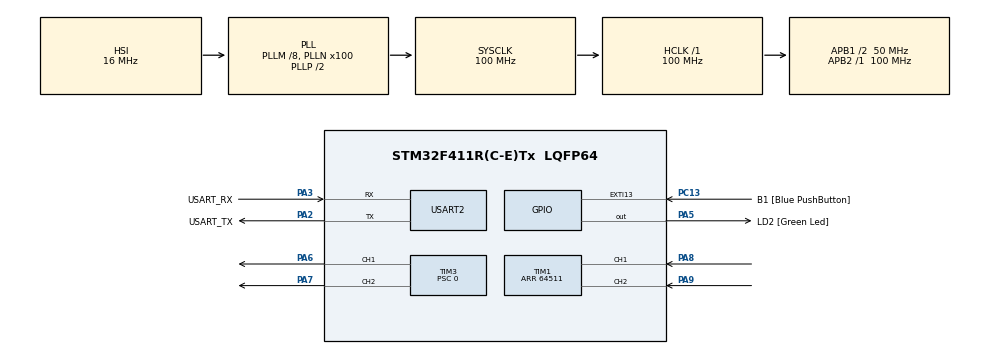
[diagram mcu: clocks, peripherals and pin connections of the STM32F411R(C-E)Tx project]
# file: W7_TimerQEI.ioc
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Mcu.Family=STM32F4
Mcu.Name=STM32F411R(C-E)Tx
Mcu.Package=LQFP64
NVIC.PriorityGroup=NVIC_PRIORITYGROUP_0
NVIC.TIM2_IRQn=true\:0\:0\:false\:false\:true\:true\:true
PA13.GPIO_Label=TMS
PA13.Mode=Serial_Wire
PA13.Signal=SYS_JTMS-SWDIO
PA14.GPIO_Label=TCK
PA14.Mode=Serial_Wire
PA14.Signal=SYS_JTCK-SWCLK
PA2.GPIO_Label=USART_TX
PA2.Mode=Asynchronous
PA2.Signal=USART2_TX
PA3.GPIO_Label=USART_RX
PA3.Mode=Asynchronous
PA3.Signal=USART2_RX
PA5.GPIO_Label=LD2 [Green Led]
PA5.Signal=GPIO_Output
PA6.Signal=S_TIM3_CH1
PA7.Signal=S_TIM3_CH2
PA8.Signal=S_TIM1_CH1
PA9.Signal=S_TIM1_CH2
PB3.GPIO_Label=SWO
PB3.Signal=SYS_JTDO-SWO
PC13-ANTI_TAMP.GPIO_Label=B1 [Blue PushButton]
PC13-ANTI_TAMP.GPIO_ModeDefaultEXTI=GPIO_MODE_IT_FALLING
PC13-ANTI_TAMP.Signal=GPXTI13
PC14-OSC32_IN.Mode=LSE-External-Oscillator
PC14-OSC32_IN.Signal=RCC_OSC32_IN
PC15-OSC32_OUT.Mode=LSE-External-Oscillator
PC15-OSC32_OUT.Signal=RCC_OSC32_OUT
PH0\ -\ OSC_IN.Mode=HSE-External-Clock-Source
PH0\ -\ OSC_IN.Signal=RCC_OSC_IN
PH1\ -\ OSC_OUT.Mode=HSE-External-Clock-Source
PH1\ -\ OSC_OUT.Signal=RCC_OSC_OUT
ProjectManager.HeapSize=0x200
ProjectManager.StackSize=0x400
ProjectManager.TargetToolchain=STM32CubeIDE
RCC.48MHZClocksFreq_Value=50000000
RCC.AHBFreq_Value=100000000
RCC.APB1CLKDivider=RCC_HCLK_DIV2
RCC.APB1Freq_Value=50000000
RCC.APB1TimFreq_Value=100000000
RCC.APB2Freq_Value=100000000
RCC.APB2TimFreq_Value=100000000
RCC.CortexFreq_Value=100000000
RCC.FLatency-AdvancedSettings=FLASH_LATENCY_3
RCC.HCLKFreq_Value=100000000
RCC.HSE_VALUE=8000000
RCC.HSI_VALUE=16000000
RCC.PLLM=8
RCC.PLLN=100
RCC.SYSCLKFreq_VALUE=100000000
RCC.SYSCLKSource=RCC_SYSCLKSOURCE_PLLCLK
RCC.VCOOutputFreq_Value=200000000
SH.S_TIM1_CH1.0=TIM1_CH1,Encoder_Interface
SH.S_TIM1_CH2.0=TIM1_CH2,Encoder_Interface
SH.S_TIM3_CH1.0=TIM3_CH1,PWM Generation1 CH1
SH.S_TIM3_CH2.0=TIM3_CH2,PWM Generation2 CH2
TIM1.EncoderMode=TIM_ENCODERMODE_TI12
TIM1.Period=64511
TIM2.Prescaler=99
TIM3.AutoReloadPreload=TIM_AUTORELOAD_PRELOAD_ENABLE
TIM3.Channel-PWM\ Generation1\ CH1=TIM_CHANNEL_1
TIM3.Channel-PWM\ Generation2\ CH2=TIM_CHANNEL_2
TIM3.Period=9999
TIM3.Prescaler=0
USART2.VirtualMode=VM_ASYNC
VP_TIM2_VS_ClockSourceINT.Mode=Internal
VP_TIM3_VS_ClockSourceINT.Mode=Internal
board=NUCLEO-F411RE

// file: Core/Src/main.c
/* USER CODE BEGIN Header */
/**
 ******************************************************************************
 * @file           : main.c
 * @brief          : Main program body
 ******************************************************************************
 * @attention
 *
 * <h2><center>&copy; Copyright (c) 2021 STMicroelectronics.
 * All rights reserved.</center></h2>
 *
 * This software component is licensed by ST under BSD 3-Clause license,
 * the "License"; You may not use this file except in compliance with the
 * License. You may obtain a copy of the License at:
 *                        opensource.org/licenses/BSD-3-Clause
 *
 ******************************************************************************
 */
/* USER CODE END Header */
#include "main.h"

/* USER CODE BEGIN Includes */
#define _USE_MATH_DEFINES
#include "math.h"
/* USER CODE END Includes */

/* USER CODE BEGIN PD */
#define PulsePerRev 3072 //12[encoder fin] * 64[gearbox] * 4[QEI]

/* USER CODE END PD */

TIM_HandleTypeDef htim1;
TIM_HandleTypeDef htim2;
TIM_HandleTypeDef htim3;

UART_HandleTypeDef huart2;

/* USER CODE BEGIN PV */
uint64_t _micros = 0;
float DegRel =0;
float DegAbs =0;
float RadRel =0;
float RadAbs =0;
uint16_t PWMROut = 0;
uint16_t PWMLOut = 0;
float AnsDegAbs = 0;

/* USER CODE END PV */

void SystemClock_Config(void);
static void MX_GPIO_Init(void);
static void MX_USART2_UART_Init(void);
static void MX_TIM1_Init(void);
static void MX_TIM2_Init(void);
static void MX_TIM3_Init(void);
/* USER CODE BEGIN PFP */
uint64_t micros();
void UpdatePosition();
/* USER CODE END PFP */

int main(void)
{

  /* MCU Configuration--------------------------------------------------------*/

  /* Reset of all peripherals, Initializes the Flash interface and the Systick. */
  HAL_Init();

  /* Configure the system clock */
  SystemClock_Config();

  /* Initialize all configured peripherals */
  MX_GPIO_Init();
  MX_USART2_UART_Init();
  MX_TIM1_Init();
  MX_TIM2_Init();
  MX_TIM3_Init();
  /* USER CODE BEGIN 2 */
	HAL_TIM_Base_Start_IT(&htim2);
	HAL_TIM_Encoder_Start(&htim1, TIM_CHANNEL_ALL);
	HAL_TIM_Base_Start(&htim3);
	HAL_TIM_PWM_Start(&htim3, TIM_CHANNEL_1);
	HAL_TIM_PWM_Start(&htim3, TIM_CHANNEL_2);
  /* USER CODE END 2 */

  /* Infinite loop */
	while (1)
	{

    /* USER CODE BEGIN 3 */
		UpdatePosition();

		if(AnsDegAbs >= DegAbs){
			PWMROut = 2000;
			PWMLOut = 0;

		}
		else if(AnsDegAbs <= DegAbs){
			PWMROut = 0;
			PWMLOut = 2000;

		}
//		if(DegAbs >= AnsDegAbs){
//			PWMROut = 0;
//			PWMLOut = 0;
//		}
		__HAL_TIM_SET_COMPARE(&htim3, TIM_CHANNEL_1, PWMROut);
		__HAL_TIM_SET_COMPARE(&htim3, TIM_CHANNEL_2, PWMLOut);

	}
  /* USER CODE END 3 */
}

void SystemClock_Config(void)
{
  RCC_OscInitTypeDef RCC_OscInitStruct = {0};
  RCC_ClkInitTypeDef RCC_ClkInitStruct = {0};

  /** Configure the main internal regulator output voltage
  */
  __HAL_RCC_PWR_CLK_ENABLE();
  __HAL_PWR_VOLTAGESCALING_CONFIG(PWR_REGULATOR_VOLTAGE_SCALE1);
  /** Initializes the RCC Oscillators according to the specified parameters
  * in the RCC_OscInitTypeDef structure.
  */
  RCC_OscInitStruct.OscillatorType = RCC_OSCILLATORTYPE_HSI;
  RCC_OscInitStruct.HSIState = RCC_HSI_ON;
  RCC_OscInitStruct.HSICalibrationValue = RCC_HSICALIBRATION_DEFAULT;
  RCC_OscInitStruct.PLL.PLLState = RCC_PLL_ON;
  RCC_OscInitStruct.PLL.PLLSource = RCC_PLLSOURCE_HSI;
  RCC_OscInitStruct.PLL.PLLM = 8;
  RCC_OscInitStruct.PLL.PLLN = 100;
  RCC_OscInitStruct.PLL.PLLP = RCC_PLLP_DIV2;
  RCC_OscInitStruct.PLL.PLLQ = 4;
  if (HAL_RCC_OscConfig(&RCC_OscInitStruct) != HAL_OK)
  {
    Error_Handler();
  }
  /** Initializes the CPU, AHB and APB buses clocks
  */
  RCC_ClkInitStruct.ClockType = RCC_CLOCKTYPE_HCLK|RCC_CLOCKTYPE_SYSCLK
                              |RCC_CLOCKTYPE_PCLK1|RCC_CLOCKTYPE_PCLK2;
  RCC_ClkInitStruct.SYSCLKSource = RCC_SYSCLKSOURCE_PLLCLK;
  RCC_ClkInitStruct.AHBCLKDivider = RCC_SYSCLK_DIV1;
  RCC_ClkInitStruct.APB1CLKDivider = RCC_HCLK_DIV2;
  RCC_ClkInitStruct.APB2CLKDivider = RCC_HCLK_DIV1;

  if (HAL_RCC_ClockConfig(&RCC_ClkInitStruct, FLASH_LATENCY_3) != HAL_OK)
  {
    Error_Handler();
  }
}

static void MX_TIM1_Init(void)
{

  TIM_Encoder_InitTypeDef sConfig = {0};
  TIM_MasterConfigTypeDef sMasterConfig = {0};

  htim1.Instance = TIM1;
  htim1.Init.Prescaler = 0;
  htim1.Init.CounterMode = TIM_COUNTERMODE_UP;
  htim1.Init.Period = 64511;
  htim1.Init.ClockDivision = TIM_CLOCKDIVISION_DIV1;
  htim1.Init.RepetitionCounter = 0;
  htim1.Init.AutoReloadPreload = TIM_AUTORELOAD_PRELOAD_DISABLE;
  sConfig.EncoderMode = TIM_ENCODERMODE_TI12;
  sConfig.IC1Polarity = TIM_ICPOLARITY_RISING;
  sConfig.IC1Selection = TIM_ICSELECTION_DIRECTTI;
  sConfig.IC1Prescaler = TIM_ICPSC_DIV1;
  sConfig.IC1Filter = 0;
  sConfig.IC2Polarity = TIM_ICPOLARITY_RISING;
  sConfig.IC2Selection = TIM_ICSELECTION_DIRECTTI;
  sConfig.IC2Prescaler = TIM_ICPSC_DIV1;
  sConfig.IC2Filter = 0;
  if (HAL_TIM_Encoder_Init(&htim1, &sConfig) != HAL_OK)
  {
    Error_Handler();
  }
  sMasterConfig.MasterOutputTrigger = TIM_TRGO_RESET;
  sMasterConfig.MasterSlaveMode = TIM_MASTERSLAVEMODE_DISABLE;
  if (HAL_TIMEx_MasterConfigSynchronization(&htim1, &sMasterConfig) != HAL_OK)
  {
    Error_Handler();
  }

}

static void MX_TIM2_Init(void)
{

  TIM_ClockConfigTypeDef sClockSourceConfig = {0};
  TIM_MasterConfigTypeDef sMasterConfig = {0};

  htim2.Instance = TIM2;
  htim2.Init.Prescaler = 99;
  htim2.Init.CounterMode = TIM_COUNTERMODE_UP;
  htim2.Init.Period = 4294967295;
  htim2.Init.ClockDivision = TIM_CLOCKDIVISION_DIV1;
  htim2.Init.AutoReloadPreload = TIM_AUTORELOAD_PRELOAD_DISABLE;
  if (HAL_TIM_Base_Init(&htim2) != HAL_OK)
  {
    Error_Handler();
  }
  sClockSourceConfig.ClockSource = TIM_CLOCKSOURCE_INTERNAL;
  if (HAL_TIM_ConfigClockSource(&htim2, &sClockSourceConfig) != HAL_OK)
  {
    Error_Handler();
  }
  sMasterConfig.MasterOutputTrigger = TIM_TRGO_RESET;
  sMasterConfig.MasterSlaveMode = TIM_MASTERSLAVEMODE_DISABLE;
  if (HAL_TIMEx_MasterConfigSynchronization(&htim2, &sMasterConfig) != HAL_OK)
  {
    Error_Handler();
  }

}

static void MX_TIM3_Init(void)
{

  TIM_ClockConfigTypeDef sClockSourceConfig = {0};
  TIM_MasterConfigTypeDef sMasterConfig = {0};
  TIM_OC_InitTypeDef sConfigOC = {0};

  htim3.Instance = TIM3;
  htim3.Init.Prescaler = 0;
  htim3.Init.CounterMode = TIM_COUNTERMODE_UP;
  htim3.Init.Period = 9999;
  htim3.Init.ClockDivision = TIM_CLOCKDIVISION_DIV1;
  htim3.Init.AutoReloadPreload = TIM_AUTORELOAD_PRELOAD_ENABLE;
  if (HAL_TIM_Base_Init(&htim3) != HAL_OK)
  {
    Error_Handler();
  }
  sClockSourceConfig.ClockSource = TIM_CLOCKSOURCE_INTERNAL;
  if (HAL_TIM_ConfigClockSource(&htim3, &sClockSourceConfig) != HAL_OK)
  {
    Error_Handler();
  }
  if (HAL_TIM_PWM_Init(&htim3) != HAL_OK)
  {
    Error_Handler();
  }
  sMasterConfig.MasterOutputTrigger = TIM_TRGO_RESET;
  sMasterConfig.MasterSlaveMode = TIM_MASTERSLAVEMODE_DISABLE;
  if (HAL_TIMEx_MasterConfigSynchronization(&htim3, &sMasterConfig) != HAL_OK)
  {
    Error_Handler();
  }
  sConfigOC.OCMode = TIM_OCMODE_PWM1;
  sConfigOC.Pulse = 0;
  sConfigOC.OCPolarity = TIM_OCPOLARITY_HIGH;
  sConfigOC.OCFastMode = TIM_OCFAST_DISABLE;
  if (HAL_TIM_PWM_ConfigChannel(&htim3, &sConfigOC, TIM_CHANNEL_1) != HAL_OK)
  {
    Error_Handler();
  }
  if (HAL_TIM_PWM_ConfigChannel(&htim3, &sConfigOC, TIM_CHANNEL_2) != HAL_OK)
  {
    Error_Handler();
  }
  HAL_TIM_MspPostInit(&htim3);

}

static void MX_USART2_UART_Init(void)
{

  huart2.Instance = USART2;
  huart2.Init.BaudRate = 115200;
  huart2.Init.WordLength = UART_WORDLENGTH_8B;
  huart2.Init.StopBits = UART_STOPBITS_1;
  huart2.Init.Parity = UART_PARITY_NONE;
  huart2.Init.Mode = UART_MODE_TX_RX;
  huart2.Init.HwFlowCtl = UART_HWCONTROL_NONE;
  huart2.Init.OverSampling = UART_OVERSAMPLING_16;
  if (HAL_UART_Init(&huart2) != HAL_OK)
  {
    Error_Handler();
  }

}

static void MX_GPIO_Init(void)
{
  GPIO_InitTypeDef GPIO_InitStruct = {0};

  /* GPIO Ports Clock Enable */
  __HAL_RCC_GPIOC_CLK_ENABLE();
  __HAL_RCC_GPIOH_CLK_ENABLE();
  __HAL_RCC_GPIOA_CLK_ENABLE();
  __HAL_RCC_GPIOB_CLK_ENABLE();

  /*Configure GPIO pin Output Level */
  HAL_GPIO_WritePin(LD2_GPIO_Port, LD2_Pin, GPIO_PIN_RESET);

  /*Configure GPIO pin : B1_Pin */
  GPIO_InitStruct.Pin = B1_Pin;
  GPIO_InitStruct.Mode = GPIO_MODE_IT_FALLING;
  GPIO_InitStruct.Pull = GPIO_NOPULL;
  HAL_GPIO_Init(B1_GPIO_Port, &GPIO_InitStruct);

  /*Configure GPIO pin : LD2_Pin */
  GPIO_InitStruct.Pin = LD2_Pin;
  GPIO_InitStruct.Mode = GPIO_MODE_OUTPUT_PP;
  GPIO_InitStruct.Pull = GPIO_NOPULL;
  GPIO_InitStruct.Speed = GPIO_SPEED_FREQ_LOW;
  HAL_GPIO_Init(LD2_GPIO_Port, &GPIO_InitStruct);

}

/* USER CODE BEGIN 4 */
void UpdatePosition()
{
	static uint64_t TimestampCalcualtionLoop=0;
			if(micros()-TimestampCalcualtionLoop >= 1000 )
			{
				uint16_t RawRead = TIM1->CNT;
				DegRel = (RawRead/3072.0)*360.0;
				DegAbs = ((RawRead % 3072)/3072.0)*360.0;
				RadRel = (RawRead/3072.0)*(2*M_PI);
				RadAbs = ((RawRead % 3072)/3072.0)*(2*M_PI);
			}

}

void HAL_TIM_PeriodElapsedCallback(TIM_HandleTypeDef *htim)
{
	if (htim == &htim2)
	{
		_micros += 4294967295;
	}
}
uint64_t micros()
{
	return _micros + htim2.Instance->CNT;
}
/* USER CODE END 4 */

void Error_Handler(void)
{
	__disable_irq();
	while (1)
	{
	}
}
